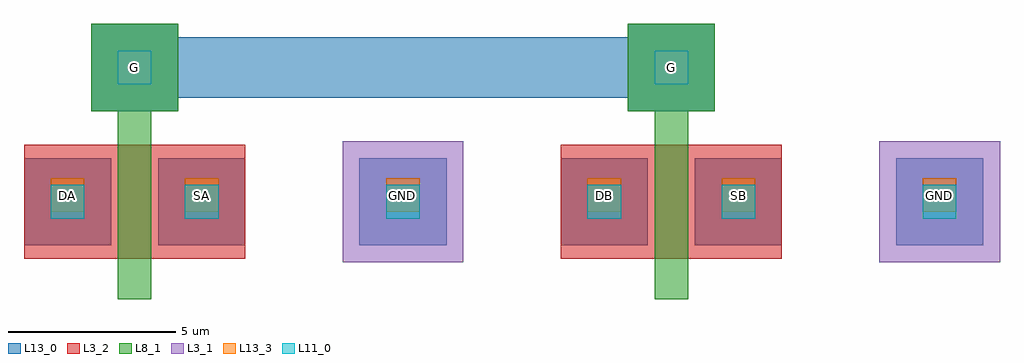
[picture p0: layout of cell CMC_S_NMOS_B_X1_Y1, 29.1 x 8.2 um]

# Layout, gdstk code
import gdstk
lib = gdstk.Library(unit=1e-6, precision=1e-09)
def R(c, l, rs):  # rectangles x0, y0, x1, y1
    for r in rs: c.add(gdstk.rectangle(r[:2], r[2:], *l))
def A(c, l, x, y, w, h, nx, ny, dx, dy):  # array of equal rectangles
    R(c, l, [(x+i*dx, y+j*dy, x+i*dx+w, y+j*dy+h) for i in range(nx) for j in range(ny)])
L3_1 = (3, 1)
L3_2 = (3, 2)
L8_1 = (8, 1)
L11_0 = (11, 0)
L13_0 = (13, 0)
L13_3 = (13, 3)

cmc_s_nmos_b_x1_y1 = lib.new_cell('CMC_S_NMOS_B_X1_Y1')
R(cmc_s_nmos_b_x1_y1, L3_1, [(10.5,2.1,14.1,5.7), (26.5,2.1,30.1,5.7)])
R(cmc_s_nmos_b_x1_y1, L3_2, [(1,2.2,7.6,5.6), (17,2.2,23.6,5.6)])
R(cmc_s_nmos_b_x1_y1, L8_1, [(3,6.6,5.6,9.2), (19,6.6,21.6,9.2), (3,6.8,5.6,9.2), (19,6.8,21.6,9.2)])
A(cmc_s_nmos_b_x1_y1, L11_0, 5.8, 3.4, 1, 1, 3, 1, 6, 0)
R(cmc_s_nmos_b_x1_y1, L11_0, [(1.8,3.4,2.8,4.4), (21.8,3.4,22.8,4.4), (27.8,3.4,28.8,4.4), (3.8,7.4,4.8,8.4), (19.8,7.4,20.8,8.4)])
A(cmc_s_nmos_b_x1_y1, L13_0, 5, 2.6, 2.6, 2.6, 3, 1, 6, 0)
R(cmc_s_nmos_b_x1_y1, L13_0, [(1,2.6,3.6,5.2), (21,2.6,23.6,5.2), (27,2.6,29.6,5.2), (3,6.6,5.6,9.2), (19,6.6,21.6,9.2), (4.8,7,19.8,8.8)])
R(cmc_s_nmos_b_x1_y1, L13_3, [(1.8,3.6,2.8,4.6), (1.8,3.6,2.8,4.6), (5.8,3.6,6.8,4.6), (5.8,3.6,6.8,4.6), (11.8,3.6,12.8,4.6), (11.8,3.6,12.8,4.6), (17.8,3.6,18.8,4.6), (17.8,3.6,18.8,4.6), (21.8,3.6,22.8,4.6), (21.8,3.6,22.8,4.6), (27.8,3.6,28.8,4.6), (27.8,3.6,28.8,4.6), (3.8,7.4,4.8,8.4), (3.8,7.4,4.8,8.4), (19.8,7.4,20.8,8.4), (19.8,7.4,20.8,8.4)])
cmc_s_nmos_b_x1_y1.add(gdstk.FlexPath([(4.3,1),(4.3,6.8)], 1, ends="flush", simple_path=True, layer=8, datatype=1))  # L8_1
cmc_s_nmos_b_x1_y1.add(gdstk.FlexPath([(20.3,1),(20.3,6.8)], 1, ends="flush", simple_path=True, layer=8, datatype=1))  # L8_1
cmc_s_nmos_b_x1_y1.add(gdstk.Label('DA', (2.3,4.1), layer=48, texttype=0))
cmc_s_nmos_b_x1_y1.add(gdstk.Label('DA', (2.3,4.1), layer=13, texttype=4))
cmc_s_nmos_b_x1_y1.add(gdstk.Label('SA', (6.3,4.1), layer=48, texttype=0))
cmc_s_nmos_b_x1_y1.add(gdstk.Label('SA', (6.3,4.1), layer=13, texttype=4))
cmc_s_nmos_b_x1_y1.add(gdstk.Label('G', (4.3,7.9), layer=48, texttype=0))
cmc_s_nmos_b_x1_y1.add(gdstk.Label('G', (4.3,7.9), layer=13, texttype=4))
cmc_s_nmos_b_x1_y1.add(gdstk.Label('GND', (12.3,4.1), layer=48, texttype=0))
cmc_s_nmos_b_x1_y1.add(gdstk.Label('GND', (12.3,4.1), layer=13, texttype=4))
cmc_s_nmos_b_x1_y1.add(gdstk.Label('DB', (18.3,4.1), layer=48, texttype=0))
cmc_s_nmos_b_x1_y1.add(gdstk.Label('DB', (18.3,4.1), layer=13, texttype=4))
cmc_s_nmos_b_x1_y1.add(gdstk.Label('SB', (22.3,4.1), layer=48, texttype=0))
cmc_s_nmos_b_x1_y1.add(gdstk.Label('SB', (22.3,4.1), layer=13, texttype=4))
cmc_s_nmos_b_x1_y1.add(gdstk.Label('G', (20.3,7.9), layer=48, texttype=0))
cmc_s_nmos_b_x1_y1.add(gdstk.Label('G', (20.3,7.9), layer=13, texttype=4))
cmc_s_nmos_b_x1_y1.add(gdstk.Label('GND', (28.3,4.1), layer=48, texttype=0))
cmc_s_nmos_b_x1_y1.add(gdstk.Label('GND', (28.3,4.1), layer=13, texttype=4))

lib.write_gds('CMC_S_NMOS_B_X1_Y1.gds')
